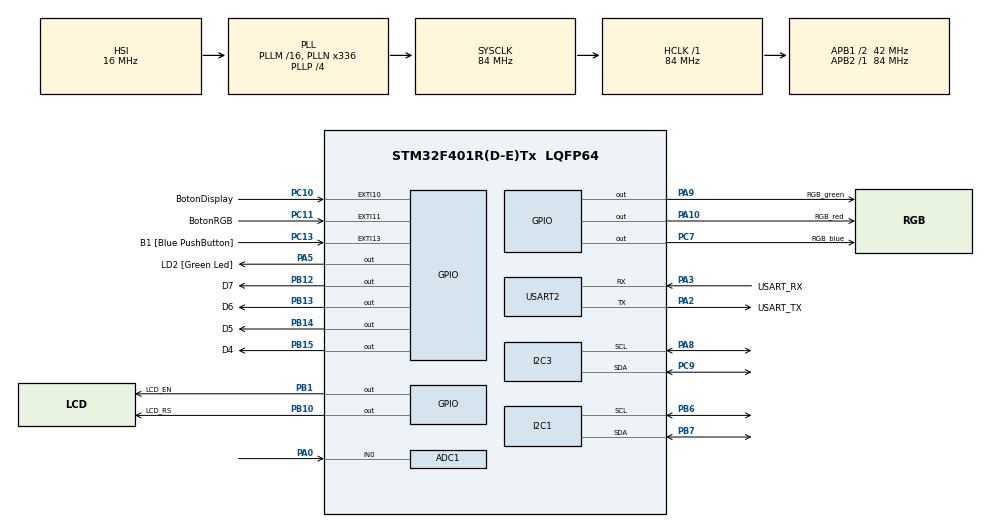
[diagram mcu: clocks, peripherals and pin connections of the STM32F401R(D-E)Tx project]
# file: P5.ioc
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ADC1.Channel-0\#ChannelRegularConversion=ADC_CHANNEL_0
ADC1.NbrOfConversionFlag=1
ADC1.Rank-0\#ChannelRegularConversion=1
ADC1.SamplingTime-0\#ChannelRegularConversion=ADC_SAMPLETIME_3CYCLES
ADC1.master=1
FREERTOS.Events01=lcdDisplayFlag,Dynamic,NULL;rgbModeFlag,Dynamic,NULL;myEvent01,Dynamic,NULL
FREERTOS.Queues01=datos,32,float,0,Dynamic,NULL,NULL
FREERTOS.Tasks01=defaultTask,24,128,StartDefaultTask,Default,NULL,Dynamic,NULL,NULL;mostrarLCD,24,256,MostrarDatosLCD,Default,NULL,Dynamic,NULL,NULL;lectura,24,128,Lectura,Default,NULL,Dynamic,NULL,NULL;setRGB,24,128,SetRGB,Default,NULL,Dynamic,NULL,NULL;OLED_TASKHAndle,24,128,StartTask06,Default,NULL,Dynamic,NULL,NULL
Mcu.Family=STM32F4
Mcu.Name=STM32F401R(D-E)Tx
Mcu.Package=LQFP64
NVIC.ADC_IRQn=true\:5\:0\:false\:false\:true\:true\:true\:true\:true
NVIC.EXTI15_10_IRQn=true\:5\:0\:false\:false\:true\:true\:true\:true\:true
NVIC.PriorityGroup=NVIC_PRIORITYGROUP_4
NVIC.USART2_IRQn=true\:5\:0\:false\:false\:true\:true\:true\:true\:true
PA0-WKUP.Signal=ADCx_IN0
PA10.GPIO_Label=RGB_red
PA10.Signal=GPIO_Output
PA13.GPIO_Label=TMS
PA13.Mode=Serial_Wire
PA13.Signal=SYS_JTMS-SWDIO
PA14.GPIO_Label=TCK
PA14.Mode=Serial_Wire
PA14.Signal=SYS_JTCK-SWCLK
PA2.GPIO_Label=USART_TX
PA2.GPIO_Mode=GPIO_MODE_AF_PP
PA2.GPIO_PuPd=GPIO_NOPULL
PA2.GPIO_Speed=GPIO_SPEED_FREQ_LOW
PA2.Mode=Asynchronous
PA2.Signal=USART2_TX
PA3.GPIO_Label=USART_RX
PA3.GPIO_Mode=GPIO_MODE_AF_PP
PA3.GPIO_PuPd=GPIO_NOPULL
PA3.GPIO_Speed=GPIO_SPEED_FREQ_LOW
PA3.Mode=Asynchronous
PA3.Signal=USART2_RX
PA5.GPIO_Label=LD2 [Green Led]
PA5.GPIO_Mode=GPIO_MODE_OUTPUT_PP
PA5.GPIO_PuPd=GPIO_NOPULL
PA5.GPIO_Speed=GPIO_SPEED_FREQ_LOW
PA5.Signal=GPIO_Output
PA8.Mode=I2C
PA8.Signal=I2C3_SCL
PA9.GPIO_Label=RGB_green
PA9.Signal=GPIO_Output
PB1.GPIO_Label=LCD_EN
PB1.Signal=GPIO_Output
PB10.GPIO_Label=LCD_RS
PB10.Signal=GPIO_Output
PB12.GPIO_Label=D7
PB12.Signal=GPIO_Output
PB13.GPIO_Label=D6
PB13.Signal=GPIO_Output
PB14.GPIO_Label=D5
PB14.Signal=GPIO_Output
PB15.GPIO_Label=D4
PB15.Signal=GPIO_Output
PB3.GPIO_Label=SWO
PB3.Signal=SYS_JTDO-SWO
PB6.Mode=I2C
PB6.Signal=I2C1_SCL
PB7.Mode=I2C
PB7.Signal=I2C1_SDA
PC10.GPIO_Label=BotonDisplay
PC10.Signal=GPXTI10
PC11.GPIO_Label=BotonRGB
PC11.Signal=GPXTI11
PC13-ANTI_TAMP.GPIO_Label=B1 [Blue PushButton]
PC13-ANTI_TAMP.GPIO_ModeDefaultEXTI=GPIO_MODE_IT_FALLING
PC13-ANTI_TAMP.GPIO_PuPd=GPIO_NOPULL
PC13-ANTI_TAMP.Signal=GPXTI13
PC14-OSC32_IN.Mode=LSE-External-Oscillator
PC14-OSC32_IN.Signal=RCC_OSC32_IN
PC15-OSC32_OUT.Mode=LSE-External-Oscillator
PC15-OSC32_OUT.Signal=RCC_OSC32_OUT
PC7.GPIO_Label=RGB_blue
PC7.Signal=GPIO_Output
PC9.Mode=I2C
PC9.Signal=I2C3_SDA
PH0\ -\ OSC_IN.Mode=HSE-External-Clock-Source
PH0\ -\ OSC_IN.Signal=RCC_OSC_IN
PH1\ -\ OSC_OUT.Mode=HSE-External-Clock-Source
PH1\ -\ OSC_OUT.Signal=RCC_OSC_OUT
ProjectManager.HeapSize=0x200
ProjectManager.StackSize=0x400
ProjectManager.TargetToolchain=STM32CubeIDE
RCC.48MHZClocksFreq_Value=48000000
RCC.AHBFreq_Value=84000000
RCC.APB1CLKDivider=RCC_HCLK_DIV2
RCC.APB1Freq_Value=42000000
RCC.APB1TimFreq_Value=84000000
RCC.APB2Freq_Value=84000000
RCC.APB2TimFreq_Value=84000000
RCC.CortexFreq_Value=84000000
RCC.HCLKFreq_Value=84000000
RCC.HSE_VALUE=8000000
RCC.HSI_VALUE=16000000
RCC.PLLN=336
RCC.PLLP=RCC_PLLP_DIV4
RCC.PLLQ=7
RCC.SYSCLKFreq_VALUE=84000000
RCC.SYSCLKSource=RCC_SYSCLKSOURCE_PLLCLK
RCC.VCOOutputFreq_Value=336000000
SH.ADCx_IN0.0=ADC1_IN0,IN0
USART2.VirtualMode=VM_ASYNC
VP_FREERTOS_VS_CMSIS_V2.Mode=CMSIS_V2
board=NUCLEO-F401RE

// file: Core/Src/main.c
/* USER CODE BEGIN Header */
/**
  ******************************************************************************
  * @file           : main.c
  * @brief          : Main program body
  ******************************************************************************
  * @attention
  *
  * Copyright (c) 2023 STMicroelectronics.
  * All rights reserved.
  *
  * This software is licensed under terms that can be found in the LICENSE file
  * in the root directory of this software component.
  * If no LICENSE file comes with this software, it is provided AS-IS.
  *
  ******************************************************************************
  */
/* USER CODE END Header */
#include "main.h"
#include "cmsis_os.h"

/* USER CODE BEGIN Includes */
#include "lcd.h"
#include "ds1307.h"
#include "stdio.h"

#include "ssd1306.h"
/* USER CODE END Includes */

ADC_HandleTypeDef hadc1;

I2C_HandleTypeDef hi2c1;
I2C_HandleTypeDef hi2c3;

UART_HandleTypeDef huart2;

/* Definitions for defaultTask */
osThreadId_t defaultTaskHandle;
const osThreadAttr_t defaultTask_attributes = {
  .name = "defaultTask",
  .stack_size = 128 * 4,
  .priority = (osPriority_t) osPriorityNormal,
};
/* Definitions for mostrarLCD */
osThreadId_t mostrarLCDHandle;
const osThreadAttr_t mostrarLCD_attributes = {
  .name = "mostrarLCD",
  .stack_size = 256 * 4,
  .priority = (osPriority_t) osPriorityNormal,
};
/* Definitions for lectura */
osThreadId_t lecturaHandle;
const osThreadAttr_t lectura_attributes = {
  .name = "lectura",
  .stack_size = 128 * 4,
  .priority = (osPriority_t) osPriorityNormal,
};
/* Definitions for setRGB */
osThreadId_t setRGBHandle;
const osThreadAttr_t setRGB_attributes = {
  .name = "setRGB",
  .stack_size = 128 * 4,
  .priority = (osPriority_t) osPriorityNormal,
};
/* Definitions for OLED_TASKHAndle */
osThreadId_t OLED_TASKHAndleHandle;
const osThreadAttr_t OLED_TASKHAndle_attributes = {
  .name = "OLED_TASKHAndle",
  .stack_size = 128 * 4,
  .priority = (osPriority_t) osPriorityNormal,
};
/* Definitions for datos */
osMessageQueueId_t datosHandle;
const osMessageQueueAttr_t datos_attributes = {
  .name = "datos"
};
/* Definitions for lcdDisplayFlag */
osEventFlagsId_t lcdDisplayFlagHandle;
const osEventFlagsAttr_t lcdDisplayFlag_attributes = {
  .name = "lcdDisplayFlag"
};
/* Definitions for rgbModeFlag */
osEventFlagsId_t rgbModeFlagHandle;
const osEventFlagsAttr_t rgbModeFlag_attributes = {
  .name = "rgbModeFlag"
};
/* Definitions for myEvent01 */
osEventFlagsId_t myEvent01Handle;
const osEventFlagsAttr_t myEvent01_attributes = {
  .name = "myEvent01"
};
/* USER CODE BEGIN PV */
LCD_t lcd;
uint8_t sec,min,hour;
uint8_t week_day,day,month,year;
char str[16], msg[64];

uint8_t buffer[8];
char buff[8];
int data = 0;
char mensaje[2];
uint8_t H_data = 0;

uint8_t set_hora[3];
uint8_t set_date[4];
/* USER CODE END PV */

void SystemClock_Config(void);
static void MX_GPIO_Init(void);
static void MX_USART2_UART_Init(void);
static void MX_I2C1_Init(void);
static void MX_ADC1_Init(void);
static void MX_I2C3_Init(void);
void StartDefaultTask(void *argument);
void MostrarDatosLCD(void *argument);
void Lectura(void *argument);
void SetRGB(void *argument);
void StartTask06(void *argument);

/* USER CODE BEGIN PFP */
void ssd1306_InitText();
void lcd_config(void);
void lcd_rgb_init(LCD_t *lcd_dir);
void ds1307_init(void);
/* USER CODE END PFP */

/* USER CODE BEGIN 0 */

void set_RGB(uint8_t red, uint8_t green, uint8_t blue) //¿¿¿En el modulo esta cambiado R por G????
{
	HAL_GPIO_WritePin(GPIOC, GPIO_PIN_7, blue);
	HAL_GPIO_WritePin(GPIOA, GPIO_PIN_9, green);
	HAL_GPIO_WritePin(GPIOA, GPIO_PIN_10, red);
}
/* USER CODE END 0 */

int main(void)
{

  /* MCU Configuration--------------------------------------------------------*/

  /* Reset of all peripherals, Initializes the Flash interface and the Systick. */
  HAL_Init();

  /* Configure the system clock */
  SystemClock_Config();

  /* USER CODE BEGIN SysInit */
  lcd_config();
  /* USER CODE END SysInit */

  /* Initialize all configured peripherals */
  MX_GPIO_Init();
  MX_USART2_UART_Init();
  MX_I2C1_Init();
  MX_ADC1_Init();
  MX_I2C3_Init();
  /* USER CODE BEGIN 2 */
  ssd1306_Init();
  lcd_rgb_init(&lcd);
  ds1307_init();
  /* USER CODE END 2 */

  /* Init scheduler */
  osKernelInitialize();

  /* Create the queue(s) */
  /* creation of datos */
  datosHandle = osMessageQueueNew (32, sizeof(float), &datos_attributes);

  /* Create the thread(s) */
  /* creation of defaultTask */
  defaultTaskHandle = osThreadNew(StartDefaultTask, NULL, &defaultTask_attributes);

  /* creation of mostrarLCD */
  mostrarLCDHandle = osThreadNew(MostrarDatosLCD, NULL, &mostrarLCD_attributes);

  /* creation of lectura */
  lecturaHandle = osThreadNew(Lectura, NULL, &lectura_attributes);

  /* creation of setRGB */
  setRGBHandle = osThreadNew(SetRGB, NULL, &setRGB_attributes);

  /* creation of OLED_TASKHAndle */
  OLED_TASKHAndleHandle = osThreadNew(StartTask06, NULL, &OLED_TASKHAndle_attributes);

  /* Create the event(s) */
  /* creation of lcdDisplayFlag */
  lcdDisplayFlagHandle = osEventFlagsNew(&lcdDisplayFlag_attributes);

  /* creation of rgbModeFlag */
  rgbModeFlagHandle = osEventFlagsNew(&rgbModeFlag_attributes);

  /* creation of myEvent01 */
  myEvent01Handle = osEventFlagsNew(&myEvent01_attributes);

  /* USER CODE BEGIN RTOS_EVENTS */
  /* add events, ... */
  osEventFlagsSet(lcdDisplayFlagHandle, 0x00000001U);
  osEventFlagsSet(rgbModeFlagHandle, 0x00000080U);
  /* USER CODE END RTOS_EVENTS */

  /* Start scheduler */
  osKernelStart();

  /* We should never get here as control is now taken by the scheduler */
  /* Infinite loop */
  while (1)
  {

  }
}

void SystemClock_Config(void)
{
  RCC_OscInitTypeDef RCC_OscInitStruct = {0};
  RCC_ClkInitTypeDef RCC_ClkInitStruct = {0};

  /** Configure the main internal regulator output voltage
  */
  __HAL_RCC_PWR_CLK_ENABLE();
  __HAL_PWR_VOLTAGESCALING_CONFIG(PWR_REGULATOR_VOLTAGE_SCALE2);

  /** Initializes the RCC Oscillators according to the specified parameters
  * in the RCC_OscInitTypeDef structure.
  */
  RCC_OscInitStruct.OscillatorType = RCC_OSCILLATORTYPE_HSI;
  RCC_OscInitStruct.HSIState = RCC_HSI_ON;
  RCC_OscInitStruct.HSICalibrationValue = RCC_HSICALIBRATION_DEFAULT;
  RCC_OscInitStruct.PLL.PLLState = RCC_PLL_ON;
  RCC_OscInitStruct.PLL.PLLSource = RCC_PLLSOURCE_HSI;
  RCC_OscInitStruct.PLL.PLLM = 16;
  RCC_OscInitStruct.PLL.PLLN = 336;
  RCC_OscInitStruct.PLL.PLLP = RCC_PLLP_DIV4;
  RCC_OscInitStruct.PLL.PLLQ = 7;
  if (HAL_RCC_OscConfig(&RCC_OscInitStruct) != HAL_OK)
  {
    Error_Handler();
  }

  /** Initializes the CPU, AHB and APB buses clocks
  */
  RCC_ClkInitStruct.ClockType = RCC_CLOCKTYPE_HCLK|RCC_CLOCKTYPE_SYSCLK
                              |RCC_CLOCKTYPE_PCLK1|RCC_CLOCKTYPE_PCLK2;
  RCC_ClkInitStruct.SYSCLKSource = RCC_SYSCLKSOURCE_PLLCLK;
  RCC_ClkInitStruct.AHBCLKDivider = RCC_SYSCLK_DIV1;
  RCC_ClkInitStruct.APB1CLKDivider = RCC_HCLK_DIV2;
  RCC_ClkInitStruct.APB2CLKDivider = RCC_HCLK_DIV1;

  if (HAL_RCC_ClockConfig(&RCC_ClkInitStruct, FLASH_LATENCY_2) != HAL_OK)
  {
    Error_Handler();
  }
}

static void MX_ADC1_Init(void)
{

  ADC_ChannelConfTypeDef sConfig = {0};

  /** Configure the global features of the ADC (Clock, Resolution, Data Alignment and number of conversion)
  */
  hadc1.Instance = ADC1;
  hadc1.Init.ClockPrescaler = ADC_CLOCK_SYNC_PCLK_DIV4;
  hadc1.Init.Resolution = ADC_RESOLUTION_12B;
  hadc1.Init.ScanConvMode = DISABLE;
  hadc1.Init.ContinuousConvMode = DISABLE;
  hadc1.Init.DiscontinuousConvMode = DISABLE;
  hadc1.Init.ExternalTrigConvEdge = ADC_EXTERNALTRIGCONVEDGE_NONE;
  hadc1.Init.ExternalTrigConv = ADC_SOFTWARE_START;
  hadc1.Init.DataAlign = ADC_DATAALIGN_RIGHT;
  hadc1.Init.NbrOfConversion = 1;
  hadc1.Init.DMAContinuousRequests = DISABLE;
  hadc1.Init.EOCSelection = ADC_EOC_SINGLE_CONV;
  if (HAL_ADC_Init(&hadc1) != HAL_OK)
  {
    Error_Handler();
  }

  /** Configure for the selected ADC regular channel its corresponding rank in the sequencer and its sample time.
  */
  sConfig.Channel = ADC_CHANNEL_0;
  sConfig.Rank = 1;
  sConfig.SamplingTime = ADC_SAMPLETIME_3CYCLES;
  if (HAL_ADC_ConfigChannel(&hadc1, &sConfig) != HAL_OK)
  {
    Error_Handler();
  }

}

static void MX_I2C1_Init(void)
{

  hi2c1.Instance = I2C1;
  hi2c1.Init.ClockSpeed = 100000;
  hi2c1.Init.DutyCycle = I2C_DUTYCYCLE_2;
  hi2c1.Init.OwnAddress1 = 0;
  hi2c1.Init.AddressingMode = I2C_ADDRESSINGMODE_7BIT;
  hi2c1.Init.DualAddressMode = I2C_DUALADDRESS_DISABLE;
  hi2c1.Init.OwnAddress2 = 0;
  hi2c1.Init.GeneralCallMode = I2C_GENERALCALL_DISABLE;
  hi2c1.Init.NoStretchMode = I2C_NOSTRETCH_DISABLE;
  if (HAL_I2C_Init(&hi2c1) != HAL_OK)
  {
    Error_Handler();
  }

}

static void MX_I2C3_Init(void)
{

  hi2c3.Instance = I2C3;
  hi2c3.Init.ClockSpeed = 100000;
  hi2c3.Init.DutyCycle = I2C_DUTYCYCLE_2;
  hi2c3.Init.OwnAddress1 = 0;
  hi2c3.Init.AddressingMode = I2C_ADDRESSINGMODE_7BIT;
  hi2c3.Init.DualAddressMode = I2C_DUALADDRESS_DISABLE;
  hi2c3.Init.OwnAddress2 = 0;
  hi2c3.Init.GeneralCallMode = I2C_GENERALCALL_DISABLE;
  hi2c3.Init.NoStretchMode = I2C_NOSTRETCH_DISABLE;
  if (HAL_I2C_Init(&hi2c3) != HAL_OK)
  {
    Error_Handler();
  }

}

static void MX_USART2_UART_Init(void)
{

  huart2.Instance = USART2;
  huart2.Init.BaudRate = 115200;
  huart2.Init.WordLength = UART_WORDLENGTH_8B;
  huart2.Init.StopBits = UART_STOPBITS_1;
  huart2.Init.Parity = UART_PARITY_NONE;
  huart2.Init.Mode = UART_MODE_TX_RX;
  huart2.Init.HwFlowCtl = UART_HWCONTROL_NONE;
  huart2.Init.OverSampling = UART_OVERSAMPLING_16;
  if (HAL_UART_Init(&huart2) != HAL_OK)
  {
    Error_Handler();
  }

}

static void MX_GPIO_Init(void)
{
  GPIO_InitTypeDef GPIO_InitStruct = {0};

  /* GPIO Ports Clock Enable */
  __HAL_RCC_GPIOC_CLK_ENABLE();
  __HAL_RCC_GPIOH_CLK_ENABLE();
  __HAL_RCC_GPIOA_CLK_ENABLE();
  __HAL_RCC_GPIOB_CLK_ENABLE();

  /*Configure GPIO pin Output Level */
  HAL_GPIO_WritePin(GPIOA, LD2_Pin|RGB_green_Pin|RGB_red_Pin, GPIO_PIN_RESET);

  /*Configure GPIO pin Output Level */
  HAL_GPIO_WritePin(GPIOB, LCD_EN_Pin|LCD_RS_Pin|D7_Pin|D6_Pin
                          |D5_Pin|D4_Pin, GPIO_PIN_RESET);

  /*Configure GPIO pin Output Level */
  HAL_GPIO_WritePin(RGB_blue_GPIO_Port, RGB_blue_Pin, GPIO_PIN_RESET);

  /*Configure GPIO pin : B1_Pin */
  GPIO_InitStruct.Pin = B1_Pin;
  GPIO_InitStruct.Mode = GPIO_MODE_IT_FALLING;
  GPIO_InitStruct.Pull = GPIO_NOPULL;
  HAL_GPIO_Init(B1_GPIO_Port, &GPIO_InitStruct);

  /*Configure GPIO pins : LD2_Pin RGB_green_Pin RGB_red_Pin */
  GPIO_InitStruct.Pin = LD2_Pin|RGB_green_Pin|RGB_red_Pin;
  GPIO_InitStruct.Mode = GPIO_MODE_OUTPUT_PP;
  GPIO_InitStruct.Pull = GPIO_NOPULL;
  GPIO_InitStruct.Speed = GPIO_SPEED_FREQ_LOW;
  HAL_GPIO_Init(GPIOA, &GPIO_InitStruct);

  /*Configure GPIO pins : LCD_EN_Pin LCD_RS_Pin D7_Pin D6_Pin
                           D5_Pin D4_Pin */
  GPIO_InitStruct.Pin = LCD_EN_Pin|LCD_RS_Pin|D7_Pin|D6_Pin
                          |D5_Pin|D4_Pin;
  GPIO_InitStruct.Mode = GPIO_MODE_OUTPUT_PP;
  GPIO_InitStruct.Pull = GPIO_NOPULL;
  GPIO_InitStruct.Speed = GPIO_SPEED_FREQ_LOW;
  HAL_GPIO_Init(GPIOB, &GPIO_InitStruct);

  /*Configure GPIO pin : RGB_blue_Pin */
  GPIO_InitStruct.Pin = RGB_blue_Pin;
  GPIO_InitStruct.Mode = GPIO_MODE_OUTPUT_PP;
  GPIO_InitStruct.Pull = GPIO_NOPULL;
  GPIO_InitStruct.Speed = GPIO_SPEED_FREQ_LOW;
  HAL_GPIO_Init(RGB_blue_GPIO_Port, &GPIO_InitStruct);

  /*Configure GPIO pins : BotonDisplay_Pin BotonRGB_Pin */
  GPIO_InitStruct.Pin = BotonDisplay_Pin|BotonRGB_Pin;
  GPIO_InitStruct.Mode = GPIO_MODE_IT_RISING;
  GPIO_InitStruct.Pull = GPIO_NOPULL;
  HAL_GPIO_Init(GPIOC, &GPIO_InitStruct);

  /* EXTI interrupt init*/
  HAL_NVIC_SetPriority(EXTI15_10_IRQn, 5, 0);
  HAL_NVIC_EnableIRQ(EXTI15_10_IRQn);

}

/* USER CODE BEGIN 4 */
void lcd_config(void) {
	lcd.RS_port= LCD_RS_GPIO_Port;
	lcd.RS_pin = LCD_RS_Pin;
	//lcd.RW_port = LCD_RW_GPIO_Port;
	//lcd.RW_pin = LCD_RW_Pin;
	lcd.EN_port = LCD_EN_GPIO_Port;
	lcd.EN_pin = LCD_EN_Pin;
	lcd.D4_port = D4_GPIO_Port;
	lcd.D4_pin = D4_Pin;
	lcd.D5_port = D5_GPIO_Port;
	lcd.D5_pin = D5_Pin;
	lcd.D6_port = D6_GPIO_Port;
	lcd.D6_pin = D6_Pin;
	lcd.D7_port = D7_GPIO_Port;
	lcd.D7_pin = D7_Pin;
}

void lcd_rgb_init(LCD_t *lcd_dir) {
	lcd_begin(lcd_dir, 16, 2, LCD_5x8DOTS);

	// Mensaje inicial
	lcd_setCursor(lcd_dir, 0, 0);
	lcd_print(lcd_dir, "  Tiempo Real   ");
	lcd_setCursor(lcd_dir, 0, 1);
	lcd_print(lcd_dir, "  Xiang & Alex  ");
	set_RGB(1,1,1);
	HAL_Delay(3000);
	lcd_clear(lcd_dir);
	lcd_home(lcd_dir);
}

void ds1307_init(void)
{
	rtc_init(0,1,0);

	rtc_set_time(00,00,00);
	rtc_set_date(1, 1, 1, 23);
}

void ssd1306_IniText()
{
    uint8_t y = 0;

    //ssd1306_Init();
    ssd1306_Fill(Black);

	#ifdef SSD1306_INCLUDE_FONT_11x18
	ssd1306_SetCursor(10, y);
	ssd1306_WriteString("Comando:", Font_6x8, White);
	//y += 19;
	//sprintf(mensaje, "%d", data);
	ssd1306_SetCursor(75, y);
	//ssd1306_WriteString(mensaje, Font_16x26, White);
	ssd1306_WriteString(buffer, Font_11x18, White);
	y += 19;
	ssd1306_SetCursor(10, y);
	sprintf(buff ,"%d", H_data);
	ssd1306_WriteString(buff, Font_16x26, White);
	#endif

    ssd1306_UpdateScreen();
}
void HAL_UART_RxCpltCallback(UART_HandleTypeDef * huart)
{
	int comand = 0;
	/*if(buffer[0] >= 48 && buffer[0] <= 57 && buffer[1] >= 48 && buffer[1] <= 57){
		data = (buffer[0] - 48);
		data = (data * 10);
		data += (buffer[1] - 48);
		osEventFlagsSet(myEvent01Handle, 0x00000001U);
	}else{
		__NOP();
	}*/
	if(buffer[1] == 58)
	{
		if(buffer[2] >= 48 && buffer[2] <= 57) H_data = (buffer[2] - 48); //decimal
		if(buffer[3] >= 48 && buffer[3] <= 57){H_data = (H_data * 10); H_data += (buffer[3] - 48);} //unidad

		comand = buffer[0];
		switch(comand){
		case 72: //H-->hora
			set_hora[0] = H_data;
			break;
		case 77: //M-->min
			set_hora[1] = H_data;
			break;
		case 83: //S-->seg
			set_hora[2] = H_data;
			break;
		case 100: // d-->dia
			set_date[0] = H_data;
			break;
		case 109: // m-->mes
			set_date[1] = H_data;
			break;
		case 121: // y-->year
			set_date[2] = H_data;
			break;
		case 119: // w-->week day
			set_date[3] = H_data;
			break;
		}
	}

	if(1) rtc_set_time(set_hora[0], set_hora[1], set_hora[2]);
	else rtc_set_date(set_date[3], set_date[0], set_date[1], set_date[2]);

	osEventFlagsSet(myEvent01Handle, 0x00000001U);
	HAL_UART_Receive_IT(&huart2, buffer, 5);
}
void HAL_UART_TxCpltCallback(UART_HandleTypeDef * huart)
{
	//HAL_GPIO_TogglePin(GPIOA, GPIO_PIN_9);
}

void HAL_GPIO_EXTI_Callback(uint16_t GPIO_pin)
{
	if(GPIO_pin == GPIO_PIN_11) //Boton RGB
	{
		switch(osEventFlagsGet(rgbModeFlagHandle))
		{
			case 0x00000080U:
				osEventFlagsClear(rgbModeFlagHandle, 0x00000080U);
				osEventFlagsSet(rgbModeFlagHandle, 0x00000001U);
				break;
			case 0x00000001U:
				osEventFlagsClear(rgbModeFlagHandle, 0x00000001U);
				osEventFlagsSet(rgbModeFlagHandle, 0x00000002U);
				break;
			case 0x00000002U:
				osEventFlagsClear(rgbModeFlagHandle, 0x00000002U);
				osEventFlagsSet(rgbModeFlagHandle, 0x00000004U);
				break;
			case 0x00000004U:
				osEventFlagsClear(rgbModeFlagHandle, 0x00000004U);
				osEventFlagsSet(rgbModeFlagHandle, 0x00000008U);
				break;
			case 0x00000008U:
				osEventFlagsClear(rgbModeFlagHandle, 0x00000008U);
				osEventFlagsSet(rgbModeFlagHandle, 0x00000010U);
				break;
			case 0x00000010U:
				osEventFlagsClear(rgbModeFlagHandle, 0x00000010U);
				osEventFlagsSet(rgbModeFlagHandle, 0x00000020U);
				break;
			case 0x00000020U:
				osEventFlagsClear(rgbModeFlagHandle, 0x000000020U);
				osEventFlagsSet(rgbModeFlagHandle, 0x00000040U);
				break;
			case 0x00000040U:
				osEventFlagsClear(rgbModeFlagHandle, 0x00000040U);
				osEventFlagsSet(rgbModeFlagHandle, 0x00000080U);
				break;
		}
	}
	if(GPIO_pin == GPIO_PIN_10) //Boton display
	{
		if((osEventFlagsGet(lcdDisplayFlagHandle))==0x00000001U)
		{
			lcd_noDisplay(&lcd);
			osEventFlagsClear(lcdDisplayFlagHandle, 0x00000001U);
			osEventFlagsSet(lcdDisplayFlagHandle, 0x00000002U);
		}
		else
		{
			lcd_display(&lcd);
			osEventFlagsClear(lcdDisplayFlagHandle, 0x00000002U);
			osEventFlagsSet(lcdDisplayFlagHandle, 0x00000001U);
		}
	}
	else __NOP();
}
/* USER CODE END 4 */

void StartDefaultTask(void *argument)
{
  /* USER CODE BEGIN 5 */
  HAL_UART_Receive_IT(&huart2, buffer, 5);
  /* Infinite loop */
  for(;;)
  {
    osEventFlagsWait(myEvent01Handle, 0x00000002U, osFlagsNoClear, osWaitForever);
    HAL_UART_Transmit_IT(&huart2, "Y\n", 2);
    osEventFlagsClear(myEvent01Handle, 0x00000002U);
    osDelay(10);
  }
  /* USER CODE END 5 */
}

void MostrarDatosLCD(void *argument)
{
  /* USER CODE BEGIN MostrarDatosLCD */
  float datoMostrar;
  char *dayName[] = {"LUN", "MAR", "MIE", "JUE", "VIE", "SAB", "DOM"};
  /* Infinite loop */
  for(;;)
  {
	osMessageQueueGet(datosHandle, &datoMostrar, NULL, osWaitForever);

	rtc_get_time(&hour, &min, &sec);
	rtc_get_date(&week_day, &day, &month, &year);

	lcd_home(&lcd);
	lcd_setCursor(&lcd, 0, 0);
	sprintf(str,"%02d/%02d/%02d   %s", day, month, year, dayName[week_day-1]);
	lcd_print(&lcd, str);
	lcd_setCursor(&lcd, 0, 1);
	sprintf(str,"%02d:%02d:%02d T=%2.1fC", hour, min, sec, datoMostrar);
	lcd_print(&lcd, str);

    osDelay(10);
  }
  /* USER CODE END MostrarDatosLCD */
}

void Lectura(void *argument)
{
  /* USER CODE BEGIN Lectura */
	uint8_t temp;
	float temp_celsius;
	HAL_StatusTypeDef status;

  /* Infinite loop */
  for(;;)
  {
	HAL_ADC_Start(&hadc1);
	status = HAL_ADC_PollForConversion(&hadc1, 1);
	if(status==HAL_OK)
		temp = HAL_ADC_GetValue(&hadc1);
	HAL_ADC_Stop(&hadc1);
	temp_celsius = (((0.001221)*temp)-0.5)/(0.01); //¿¿mal o quemado??

	osMessageQueuePut(datosHandle, &temp_celsius, osPriorityNormal, osWaitForever);
    osDelay(10);
  }
  /* USER CODE END Lectura */
}

void SetRGB(void *argument)
{
  /* USER CODE BEGIN SetRGB */
  /* Infinite loop */
  for(;;)
  {
	switch(osEventFlagsWait(rgbModeFlagHandle, 0xFF, osFlagsNoClear, osWaitForever))
	{
		case 0x0000001U:
			set_RGB(1,0,0); // R
		    break;
		case 0x0000002U:
			set_RGB(0,1,0); // G
			break;
		case 0x00000004U:
			set_RGB(0,0,1); // B
			break;
		case 0x00000008U:
			set_RGB(1,1,0); // R+G
			break;
		case 0x00000010U:
			set_RGB(1,0,1); // R+B
			break;
		case 0x00000020U:
			set_RGB(0,1,1); // G+B
			break;
		case 0x00000040U:
			set_RGB(1,1,1); // R+G+B
			break;
		case 0x00000080U:
			set_RGB(0,0,0); // apagado
			break;
	}
    osDelay(10);
  }
  /* USER CODE END SetRGB */
}

void StartTask06(void *argument)
{
  /* USER CODE BEGIN StartTask06 */
	ssd1306_IniText();
  /* Infinite loop */
  for(;;)
  {
	osEventFlagsWait(myEvent01Handle, 0x00000001U, osFlagsNoClear, osWaitForever);
	ssd1306_IniText();
	osEventFlagsSet(myEvent01Handle, 0x00000002U);
	osEventFlagsClear(myEvent01Handle, 0x00000001U);
    osDelay(1);
  }
  /* USER CODE END StartTask06 */
}

void Error_Handler(void)
{
  __disable_irq();
  while (1)
  {
  }
}
